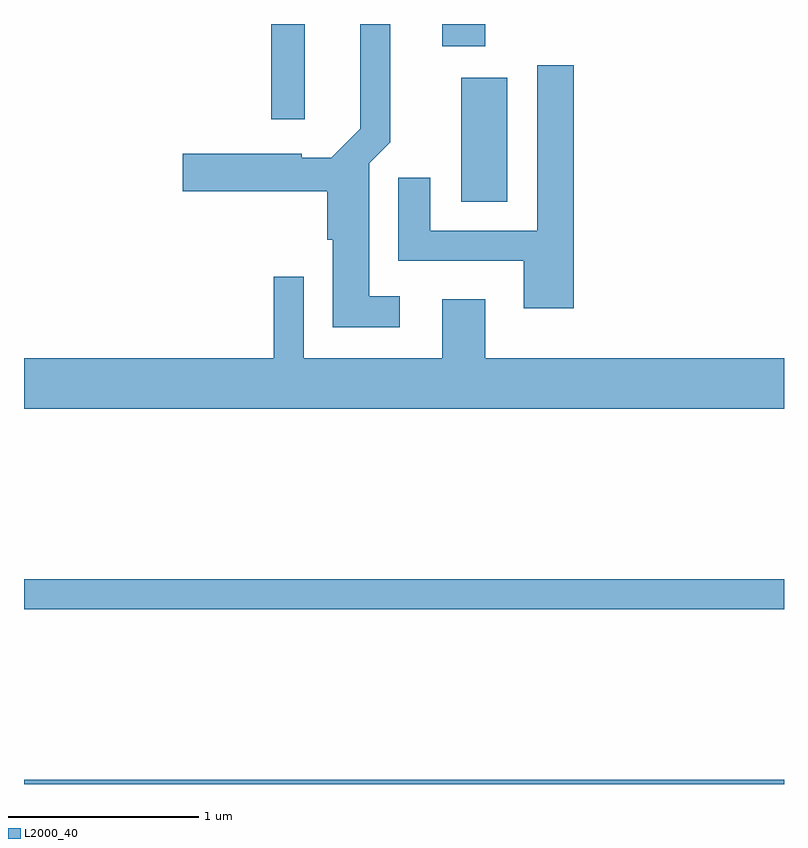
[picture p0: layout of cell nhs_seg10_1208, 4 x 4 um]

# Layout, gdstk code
import gdstk
lib = gdstk.Library(unit=1e-6, precision=1e-09)
def R(c, l, rs):  # rectangles x0, y0, x1, y1
    for r in rs: c.add(gdstk.rectangle(r[:2], r[2:], *l))
def P(c, l, *ps):  # polygons
    for p in ps: c.add(gdstk.Polygon(p, *l))
L2000_40 = (2000, 40)

nhs_seg10_1208 = lib.new_cell('nhs_seg10_1208')
R(nhs_seg10_1208, L2000_40, [(219.611,2198.522,223.611,2198.544), (219.611,2199.441,223.611,2199.599), (221.911,2201.586,222.154,2202.239), (220.911,2202.021,221.089,2202.522), (221.811,2202.406,222.039,2202.522)])
P(nhs_seg10_1208, L2000_40, [(221.588,2201.089),(221.429,2201.089),(221.429,2201.789),(221.539,2201.899),(221.539,2202.522),(221.381,2202.522),(221.381,2201.972),(221.229,2201.819),(221.074,2201.819),(221.074,2201.839),(220.446,2201.839),(220.446,2201.641),(221.206,2201.641),(221.206,2201.386),(221.236,2201.386),(221.236,2200.926),(221.588,2200.926)],
  [(222.504,2202.304),(222.311,2202.304),(222.311,2201.434),(221.749,2201.434),(221.749,2201.713),(221.581,2201.713),(221.581,2201.276),(222.241,2201.276),(222.241,2201.026),(222.504,2201.026)],
  [(223.611,2200.764),(222.039,2200.764),(222.039,2201.074),(221.811,2201.074),(221.811,2200.764),(221.084,2200.764),(221.084,2201.193),(220.926,2201.193),(220.926,2200.764),(219.611,2200.764),(219.611,2200.496),(223.611,2200.496)])

lib.write_gds('nhs_seg10_1208.gds')
